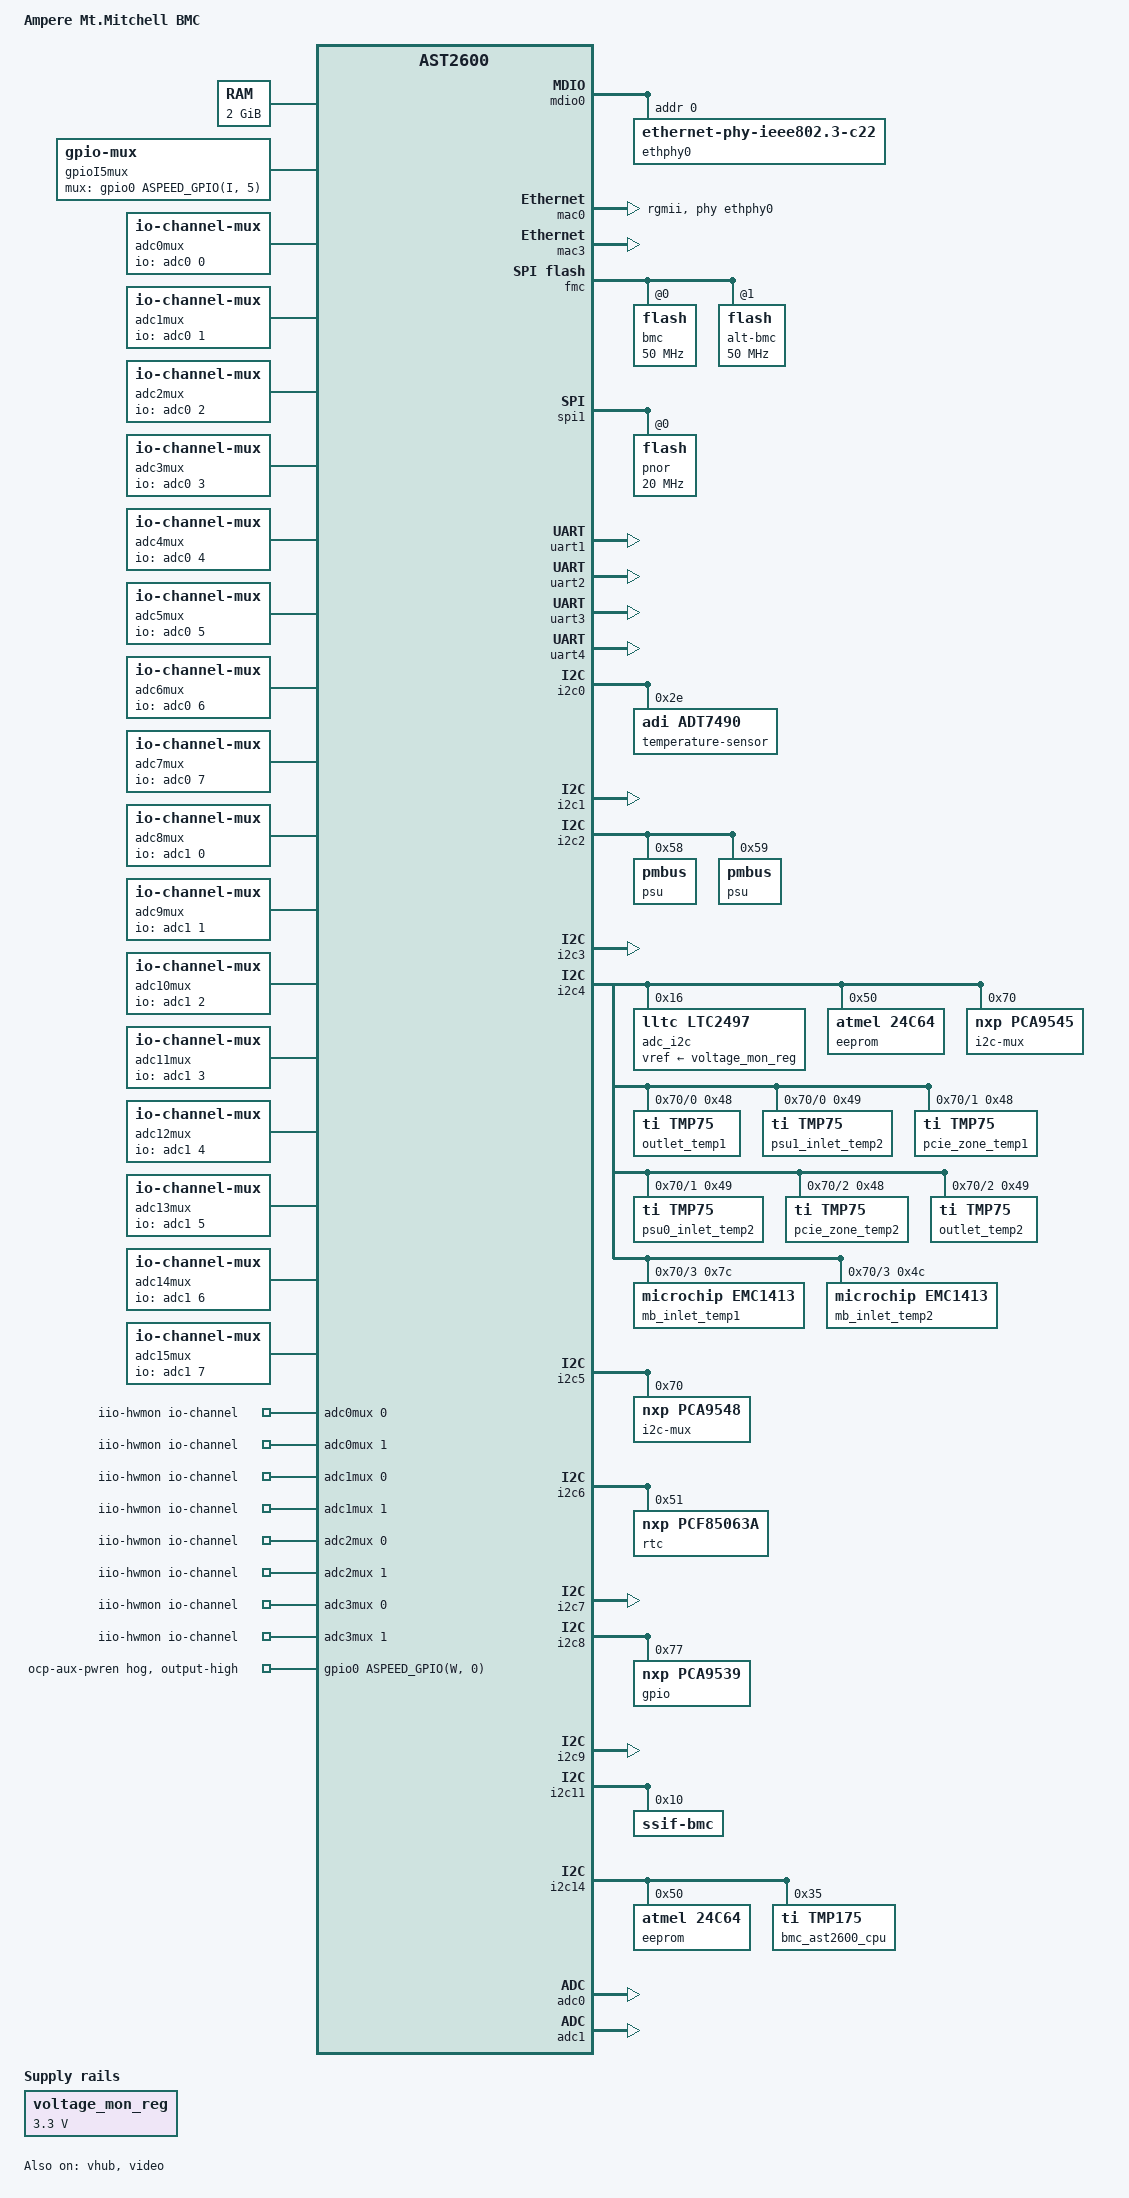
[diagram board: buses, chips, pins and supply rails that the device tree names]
// SPDX-License-Identifier: GPL-2.0-only
// Copyright (c) 2022, Ampere Computing LLC

/dts-v1/;

#include "aspeed-g6.dtsi"
#include <dt-bindings/gpio/aspeed-gpio.h>

/ {
	model = "Ampere Mt.Mitchell BMC";
	compatible = "ampere,mtmitchell-bmc", "aspeed,ast2600";

	chosen {
		stdout-path = &uart5;
	};

	memory@80000000 {
		device_type = "memory";
		reg = <0x80000000 0x80000000>;
	};

	reserved-memory {
		#address-cells = <1>;
		#size-cells = <1>;
		ranges;

		gfx_memory: framebuffer {
			size = <0x01000000>;
			alignment = <0x01000000>;
			compatible = "shared-dma-pool";
			reusable;
		};

		video_engine_memory: video {
			size = <0x04000000>;
			alignment = <0x01000000>;
			compatible = "shared-dma-pool";
			reusable;
		};

		vga_memory: region@bf000000 {
			no-map;
			compatible = "shared-dma-pool";
			reg = <0xbf000000 0x01000000>;  /* 16M */
		};
	};

	voltage_mon_reg: voltage-mon-regulator {
		compatible = "regulator-fixed";
		regulator-name = "ltc2497_reg";
		regulator-min-microvolt = <3300000>;
		regulator-max-microvolt = <3300000>;
		regulator-always-on;
	};

	gpioI5mux: mux-controller {
		compatible = "gpio-mux";
		#mux-control-cells = <0>;
		mux-gpios = <&gpio0 ASPEED_GPIO(I, 5) GPIO_ACTIVE_HIGH>;
	};

	adc0mux: adc0mux {
		compatible = "io-channel-mux";
		io-channels = <&adc0 0>;
		#io-channel-cells = <1>;
		io-channel-names = "parent";
		mux-controls = <&gpioI5mux>;
		channels = "s0", "s1";
	};

	adc1mux: adc1mux {
		compatible = "io-channel-mux";
		io-channels = <&adc0 1>;
		#io-channel-cells = <1>;
		io-channel-names = "parent";
		mux-controls = <&gpioI5mux>;
		channels = "s0", "s1";
	};

	adc2mux: adc2mux {
		compatible = "io-channel-mux";
		io-channels = <&adc0 2>;
		#io-channel-cells = <1>;
		io-channel-names = "parent";
		mux-controls = <&gpioI5mux>;
		channels = "s0", "s1";
	};

	adc3mux: adc3mux {
		compatible = "io-channel-mux";
		io-channels = <&adc0 3>;
		#io-channel-cells = <1>;
		io-channel-names = "parent";
		mux-controls = <&gpioI5mux>;
		channels = "s0", "s1";
	};

	adc4mux: adc4mux {
		compatible = "io-channel-mux";
		io-channels = <&adc0 4>;
		#io-channel-cells = <1>;
		io-channel-names = "parent";
		mux-controls = <&gpioI5mux>;
		channels = "s0", "s1";
	};

	adc5mux: adc5mux {
		compatible = "io-channel-mux";
		io-channels = <&adc0 5>;
		#io-channel-cells = <1>;
		io-channel-names = "parent";
		mux-controls = <&gpioI5mux>;
		channels = "s0", "s1";
	};

	adc6mux: adc6mux {
		compatible = "io-channel-mux";
		io-channels = <&adc0 6>;
		#io-channel-cells = <1>;
		io-channel-names = "parent";
		mux-controls = <&gpioI5mux>;
		channels = "s0", "s1";
	};

	adc7mux: adc7mux {
		compatible = "io-channel-mux";
		io-channels = <&adc0 7>;
		#io-channel-cells = <1>;
		io-channel-names = "parent";
		mux-controls = <&gpioI5mux>;
		channels = "s0", "s1";
	};

	adc8mux: adc8mux {
		compatible = "io-channel-mux";
		io-channels = <&adc1 0>;
		#io-channel-cells = <1>;
		io-channel-names = "parent";
		mux-controls = <&gpioI5mux>;
		channels = "s0", "s1";
	};

	adc9mux: adc9mux {
		compatible = "io-channel-mux";
		io-channels = <&adc1 1>;
		#io-channel-cells = <1>;
		io-channel-names = "parent";
		mux-controls = <&gpioI5mux>;
		channels = "s0", "s1";
	};

	adc10mux: adc10mux {
		compatible = "io-channel-mux";
		io-channels = <&adc1 2>;
		#io-channel-cells = <1>;
		io-channel-names = "parent";
		mux-controls = <&gpioI5mux>;
		channels = "s0", "s1";
	};

	adc11mux: adc11mux {
		compatible = "io-channel-mux";
		io-channels = <&adc1 3>;
		#io-channel-cells = <1>;
		io-channel-names = "parent";
		mux-controls = <&gpioI5mux>;
		channels = "s0", "s1";
	};

	adc12mux: adc12mux {
		compatible = "io-channel-mux";
		io-channels = <&adc1 4>;
		#io-channel-cells = <1>;
		io-channel-names = "parent";
		mux-controls = <&gpioI5mux>;
		channels = "s0", "s1";
	};

	adc13mux: adc13mux {
		compatible = "io-channel-mux";
		io-channels = <&adc1 5>;
		#io-channel-cells = <1>;
		io-channel-names = "parent";
		mux-controls = <&gpioI5mux>;
		channels = "s0", "s1";
	};

	adc14mux: adc14mux {
		compatible = "io-channel-mux";
		io-channels = <&adc1 6>;
		#io-channel-cells = <1>;
		io-channel-names = "parent";
		mux-controls = <&gpioI5mux>;
		channels = "s0", "s1";
	};

	adc15mux: adc15mux {
		compatible = "io-channel-mux";
		io-channels = <&adc1 7>;
		#io-channel-cells = <1>;
		io-channel-names = "parent";
		mux-controls = <&gpioI5mux>;
		channels = "s0", "s1";
	};

	iio-hwmon {
		compatible = "iio-hwmon";
		io-channels = <&adc0mux 0>, <&adc0mux 1>,
			<&adc1mux 0>, <&adc1mux 1>,
			<&adc2mux 0>, <&adc2mux 1>,
			<&adc3mux 0>, <&adc3mux 1>,
			<&adc4mux 0>, <&adc4mux 1>,
			<&adc5mux 0>, <&adc5mux 1>,
			<&adc6mux 0>, <&adc6mux 1>,
			<&adc7mux 0>, <&adc7mux 1>,
			<&adc8mux 0>, <&adc8mux 1>,
			<&adc9mux 0>, <&adc9mux 1>,
			<&adc10mux 0>, <&adc10mux 1>,
			<&adc11mux 0>, <&adc11mux 1>,
			<&adc12mux 0>, <&adc12mux 1>,
			<&adc13mux 0>, <&adc13mux 1>,
			<&adc14mux 0>, <&adc14mux 1>,
			<&adc15mux 0>, <&adc15mux 1>,
			<&adc_i2c 0>, <&adc_i2c 1>,
			<&adc_i2c 2>, <&adc_i2c 3>,
			<&adc_i2c 4>, <&adc_i2c 5>,
			<&adc_i2c 6>, <&adc_i2c 7>,
			<&adc_i2c 8>, <&adc_i2c 9>,
			<&adc_i2c 10>, <&adc_i2c 11>,
			<&adc_i2c 12>, <&adc_i2c 13>,
			<&adc_i2c 14>, <&adc_i2c 15>;
	};
};

&mdio0 {
	status = "okay";

	ethphy0: ethernet-phy@0 {
		compatible = "ethernet-phy-ieee802.3-c22";
		reg = <0>;
	};
};

&mac0 {
	status = "okay";

	phy-mode = "rgmii";
	phy-handle = <&ethphy0>;

	pinctrl-names = "default";
	pinctrl-0 = <&pinctrl_rgmii1_default>;
};

&mac3 {
	status = "okay";
	pinctrl-names = "default";
	pinctrl-0 = <&pinctrl_rmii4_default>;
	clock-names = "MACCLK", "RCLK";
	use-ncsi;
};

&fmc {
	status = "okay";
	flash@0 {
		status = "okay";
		m25p,fast-read;
		label = "bmc";
		spi-max-frequency = <50000000>;
#include "openbmc-flash-layout-64.dtsi"
	};

	flash@1 {
		status = "okay";
		m25p,fast-read;
		label = "alt-bmc";
		spi-max-frequency = <50000000>;
#include "openbmc-flash-layout-64-alt.dtsi"
	};
};

&spi1 {
	status = "okay";
	pinctrl-names = "default";
	pinctrl-0 = <&pinctrl_spi1_default>;

	flash@0 {
		status = "okay";
		m25p,fast-read;
		label = "pnor";
		spi-max-frequency = <20000000>;
	};
};

&uart1 {
	status = "okay";
};

&uart2 {
	status = "okay";
};

&uart3 {
	status = "okay";
};

&uart4 {
	status = "okay";
};

&i2c0 {
	status = "okay";

	temperature-sensor@2e {
		compatible = "adi,adt7490";
		reg = <0x2e>;
	};
};

&i2c1 {
	status = "okay";
};

&i2c2 {
	status = "okay";

	psu@58 {
		compatible = "pmbus";
		reg = <0x58>;
	};

	psu@59 {
		compatible = "pmbus";
		reg = <0x59>;
	};
};

&i2c3 {
	status = "okay";
};

&i2c4 {
	status = "okay";

	adc_i2c: adc@16 {
		compatible = "lltc,ltc2497";
		reg = <0x16>;
		vref-supply = <&voltage_mon_reg>;
		#io-channel-cells = <1>;
	 };

	eeprom@50 {
		compatible = "atmel,24c64";
		reg = <0x50>;
		pagesize = <32>;
	};

	i2c-mux@70 {
		compatible = "nxp,pca9545";
		#address-cells = <1>;
		#size-cells = <0>;
		reg = <0x70>;
		i2c-mux-idle-disconnect;

		i2c4_bus70_chn0: i2c@0 {
			#address-cells = <1>;
			#size-cells = <0>;
			reg = <0x0>;

			outlet_temp1: temperature-sensor@48 {
				compatible = "ti,tmp75";
				reg = <0x48>;
			};
			psu1_inlet_temp2: temperature-sensor@49 {
				compatible = "ti,tmp75";
				reg = <0x49>;
			};
		};

		i2c4_bus70_chn1: i2c@1 {
			#address-cells = <1>;
			#size-cells = <0>;
			reg = <0x1>;

			pcie_zone_temp1: temperature-sensor@48 {
				compatible = "ti,tmp75";
				reg = <0x48>;
			};
			psu0_inlet_temp2: temperature-sensor@49 {
				compatible = "ti,tmp75";
				reg = <0x49>;
			};
		};

		i2c4_bus70_chn2: i2c@2 {
			#address-cells = <1>;
			#size-cells = <0>;
			reg = <0x2>;

			pcie_zone_temp2: temperature-sensor@48 {
				compatible = "ti,tmp75";
				reg = <0x48>;
			};
			outlet_temp2: temperature-sensor@49 {
				compatible = "ti,tmp75";
				reg = <0x49>;
			};
		};

		i2c4_bus70_chn3: i2c@3 {
			#address-cells = <1>;
			#size-cells = <0>;
			reg = <0x3>;

			mb_inlet_temp1: temperature-sensor@7c {
				compatible = "microchip,emc1413";
				reg = <0x7c>;
			};
			mb_inlet_temp2: temperature-sensor@4c {
				compatible = "microchip,emc1413";
				reg = <0x4c>;
			};
		};
	};
};

&i2c5 {
	status = "okay";

	i2c-mux@70 {
		compatible = "nxp,pca9548";
		#address-cells = <1>;
		#size-cells = <0>;
		reg = <0x70>;
		i2c-mux-idle-disconnect;
	};
};

&i2c6 {
	status = "okay";
	rtc@51 {
		compatible = "nxp,pcf85063a";
		reg = <0x51>;
	};
};

&i2c7 {
	status = "okay";
};

&i2c8 {
	status = "okay";

	gpio@77 {
		compatible = "nxp,pca9539";
		reg = <0x77>;
		gpio-controller;
		#address-cells = <1>;
		#size-cells = <0>;
		#gpio-cells = <2>;

		bmc-ocp0-en-hog {
			gpio-hog;
			gpios = <7 GPIO_ACTIVE_LOW>;
			output-high;
			line-name = "bmc-ocp0-en-n";
		};
	};
};

&i2c9 {
	status = "okay";
};

&i2c11 {
	status = "okay";
	ssif-bmc@10 {
		compatible = "ssif-bmc";
		reg = <0x10>;
	};
};

&i2c14 {
	status = "okay";
	eeprom@50 {
		compatible = "atmel,24c64";
		reg = <0x50>;
		pagesize = <32>;
	};

	bmc_ast2600_cpu: temperature-sensor@35 {
		compatible = "ti,tmp175";
		reg = <0x35>;
	};
};

&adc0 {
	ref_voltage = <2500>;
	status = "okay";

	pinctrl-names = "default";
	pinctrl-0 = <&pinctrl_adc0_default &pinctrl_adc1_default
		&pinctrl_adc2_default &pinctrl_adc3_default
		&pinctrl_adc4_default &pinctrl_adc5_default
		&pinctrl_adc6_default &pinctrl_adc7_default>;
};

&adc1 {
	ref_voltage = <2500>;
	status = "okay";

	pinctrl-names = "default";
	pinctrl-0 = <&pinctrl_adc8_default &pinctrl_adc9_default
		&pinctrl_adc10_default &pinctrl_adc11_default
		&pinctrl_adc12_default &pinctrl_adc13_default
		&pinctrl_adc14_default &pinctrl_adc15_default>;
};

&vhub {
	status = "okay";
};

&video {
	status = "okay";
	memory-region = <&video_engine_memory>;
};

&gpio0 {
	gpio-line-names =
	/*A0-A7*/	"","","","","","i2c2-reset-n","i2c6-reset-n","i2c4-reset-n",
	/*B0-B7*/	"","","","","host0-sysreset-n","host0-pmin-n","","",
	/*C0-C7*/	"s0-vrd-fault-n","s1-vrd-fault-n","","",
			"irq-n","","vrd-sel","spd-sel",
	/*D0-D7*/	"presence-ps0","presence-ps1","hsc-12vmain-alt2-n","ext-high-temp-n",
			"","bmc-ncsi-txen","","",
	/*E0-E7*/	"","","clk50m-bmc-ncsi","","","","","",
	/*F0-F7*/	"s0-pcp-oc-warn-n","s1-pcp-oc-warn-n","power-chassis-control",
			"cpu-bios-recover","s0-heartbeat","hs-csout-prochot",
			"s0-vr-hot-n","s1-vr-hot-n",
	/*G0-G7*/	"","","hsc-12vmain-alt1-n","","","","","",
	/*H0-H7*/	"","","wd-disable-n","power-chassis-good","","","","",
	/*I0-I7*/	"","","","","","adc-sw","power-button","rtc-battery-voltage-read-enable",
	/*J0-J7*/	"","","","","","","","",
	/*K0-K7*/	"","","","","","","","",
	/*L0-L7*/	"","","","","","","","",
	/*M0-M7*/	"","s0-ddr-save","soc-spi-nor-access","presence-cpu0",
			"s0-rtc-lock","","","",
	/*N0-N7*/	"hpm-fw-recovery","hpm-stby-rst-n","jtag-sel-s0","led-sw-hb",
			"jtag-dbgr-prsnt-n","s1-heartbeat","","",
	/*O0-O7*/	"","","","","","","","",
	/*P0-P7*/	"ps0-ac-loss-n","ps1-ac-loss-n","","",
			"led-fault","cpld-user-mode","jtag-srst-n","led-bmc-hb",
	/*Q0-Q7*/	"","","","","","","","",
	/*R0-R7*/	"","","","","","","","",
	/*S0-S7*/	"","","identify-button","led-identify",
			"s1-ddr-save","spi-nor-access","sys-pgood","presence-cpu1",
	/*T0-T7*/	"","","","","","","","",
	/*U0-U7*/	"","","","","","","","",
	/*V0-V7*/	"s0-hightemp-n","s0-fault-alert","s0-sys-auth-failure-n",
			"host0-reboot-ack-n","host0-ready","host0-shd-req-n",
			"host0-shd-ack-n","s0-overtemp-n",
	/*W0-W7*/	"","ocp-main-pwren","ocp-pgood","",
			"bmc-ok","bmc-ready","spi0-program-sel","spi0-backup-sel",
	/*X0-X7*/	"i2c-backup-sel","s1-fault-alert","s1-fw-boot-ok",
			"s1-hightemp-n","s0-spi-auth-fail-n","s1-sys-auth-failure-n",
			"s1-overtemp-n","s1-spi-auth-fail-n",
	/*Y0-Y7*/	"","","","","","","","host0-special-boot",
	/*Z0-Z7*/	"reset-button","ps0-pgood","ps1-pgood","","","","","";

	ocp-aux-pwren-hog {
		gpio-hog;
		gpios = <ASPEED_GPIO(W, 0) GPIO_ACTIVE_HIGH>;
		output-high;
		line-name = "ocp-aux-pwren";
	};
};

&gpio1 {
	gpio-line-names =
	/*18A0-18A7*/	"","","","","","","","",
	/*18B0-18B7*/	"","","","","","","s0-soc-pgood","",
	/*18C0-18C7*/	"uart1-mode0","uart1-mode1","uart2-mode0","uart2-mode1",
			"uart3-mode0","uart3-mode1","uart4-mode0","uart4-mode1",
	/*18D0-18D7*/	"","","","","","","","",
	/*18E0-18E3*/	"","","","";
};
